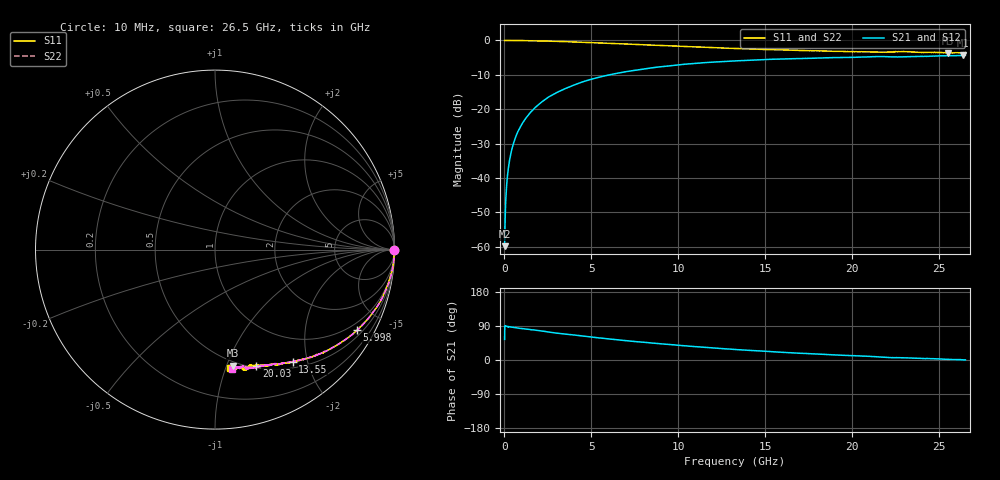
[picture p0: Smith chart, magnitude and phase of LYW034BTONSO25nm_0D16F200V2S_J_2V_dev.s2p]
!Keysight Technologies,N5222B,MY61253708,A.15.00.15
!Date: Wednesday, June 19, 2024 08:36:54
!Correction: S11(C  2-Port  )
!S21(C  2-Port  )
!S12(C  2-Port  )
!S22(C  2-Port  )
!S2P File: Measurements: S11, S21, S12, S22:
# Hz S  RI  R 50
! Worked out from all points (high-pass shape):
!   2651 points, 10 MHz to 26.5 GHz, reference 50 ohm
!   highest |S21| = -4.31 dB at 26.38 GHz (marker M1); lowest = -59.8 dB at 10 MHz (marker M2)
!   |S21| within 3 dB of the highest: 9.565 GHz to end of sweep
!   lowest |S11| = -3.7 dB at 25.49 GHz (marker M3), VSWR 4.79, Z = 23.2 - j52.6 ohm
!   |S11| at or under -10 dB: nowhere
!   |S22| runs from -3.5 to 0.0 dB; largest |S21 - S12| = 0.01
!   S11 on the Smith chart (normalised r, x): 10 MHz: open; 5.998 GHz: 0.70, -3.67; 13.55 GHz: 0.59, -1.76; 20.03 GHz: 0.52, -1.28; 26.5 GHz: 0.44, -1.04
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1e7  0.9985 -0.00249  0.000601 0.00083  2.08e-05 0.000395  0.9991 -0.00102
1.499472e8  0.9996 -0.0154  0.000209 0.00929  0.000208 0.00927  0.9992 -0.0146
1.899321e8  0.9996 -0.0184  0.000343 0.0118  0.000311 0.0118  0.9995 -0.0177
2.399132e8  0.9987 -0.0237  0.000523 0.0147  0.000509 0.0148  0.9986 -0.0228
3.298792e8  0.9983 -0.0321  0.000937 0.0203  0.000907 0.0203  0.9986 -0.0309
4.598302e8  0.9975 -0.0449  0.00172 0.0282  0.00171 0.0282  0.9974 -0.0438
6.197698e8  0.9967 -0.0598  0.00307 0.0378  0.00304 0.0378  0.9965 -0.0588
8.096981e8  0.9942 -0.0777  0.00503 0.0491  0.00496 0.0491  0.9939 -0.0762
1.419468e9  0.9796 -0.1351  0.0135 0.0843  0.0135 0.0841  0.9829 -0.1314
2.249155e9  0.9586 -0.2042  0.0324 0.1296  0.0324 0.1296  0.9605 -0.2037
3.128823e9  0.9284 -0.2741  0.0612 0.1703  0.0609 0.1702  0.9297 -0.272
4.428332e9  0.8701 -0.3634  0.1091 0.2214  0.1089 0.2215  0.8727 -0.3598
5.99774e9  0.7919 -0.4483  0.1778 0.2597  0.1781 0.2597  0.7951 -0.4468
8.846664e9  0.6435 -0.5525  0.2991 0.2821  0.2993 0.2818  0.6469 -0.5501
1.3255e10  0.4457 -0.6215  0.446 0.2354  0.4463 0.2348  0.4513 -0.6206
1.355489e10  0.4331 -0.6242  0.4526 0.23  0.4535 0.2298  0.438 -0.6241
1.767333e10  0.2919 -0.645  0.5285 0.1554  0.5299 0.1536  0.3049 -0.6452
2.003244e10  0.2298 -0.6477  0.5571 0.1138  0.5576 0.1105  0.2446 -0.6519
2.209166e10  0.1911 -0.6474  0.576 0.0661  0.5756 0.0642  0.1865 -0.6557
2.549038e10  0.0991 -0.6472  0.5999 0.0174  0.599 0.0194  0.119 -0.6582
2.638005e10  0.088 -0.659  0.6089 0.00433  0.6021 0.00671  0.096 -0.6655
2.65e10  0.0851 -0.6613  0.6087 0.004  0.6057 0.00223  0.0958 -0.6652
